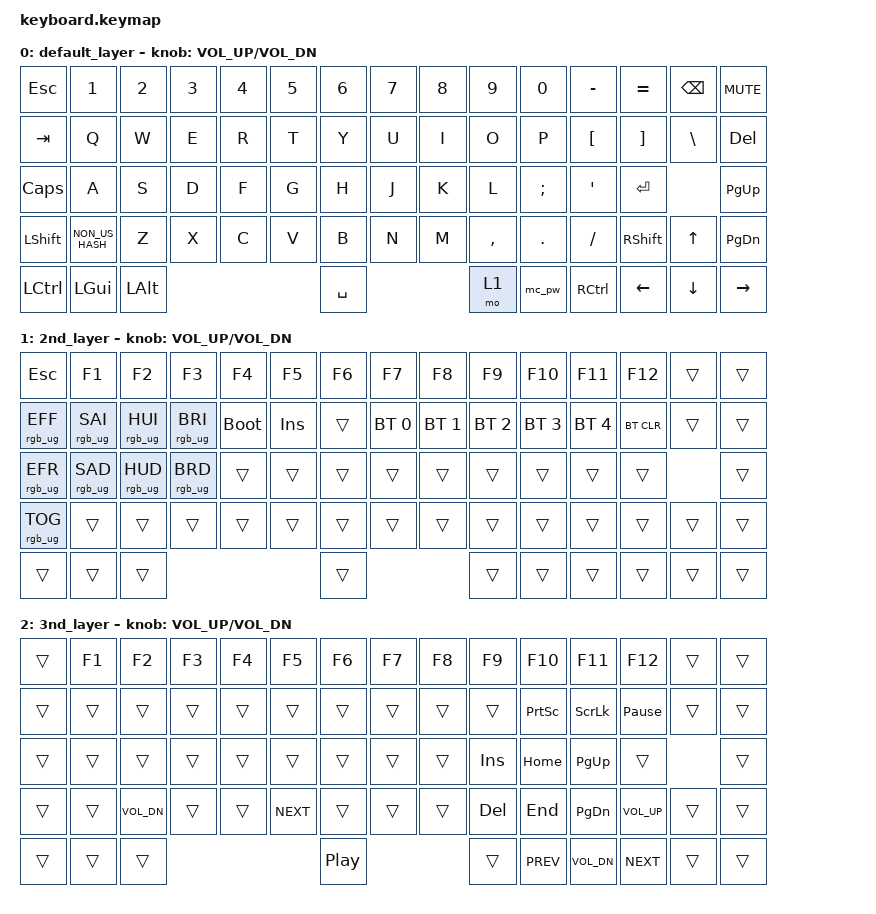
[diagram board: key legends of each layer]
/*
 * Copyright (c) 2021 Nick Winans
 *
 * SPDX-License-Identifier: MIT
 */

#include <behaviors.dtsi>
#include <dt-bindings/zmk/keys.h>

/ {
    macros {
        ZMK_MACRO(mc_pw,

        wait-ms = <1>;
        tap-ms = <1>;
        bindings = <&kp CAPS &kp T &kp CAPS &kp U &kp M &kp O &kp T &kp D &kp E &kp N &kp N1 &kp N2 &kp RET>;

        )
    };

    keymap {
        compatible = "zmk,keymap";

        default_layer {
            // ------------------------------------------------------------------------------------------
            // | ESC |  1  |  2  |  3  |  4  |  5  |  6  |  7  |  8  |  9  |  0  |  -  |  =  | BSPC |DEL|
            // | TAB  |  Q  |  W  |  E  |  R  |  T  |  Y  |  U  |  I  |  O  |  P  |  [  |  ]  |   "|"   |
            // | CAPS  |  A  |  S  |  D  |  F  |  G  |  H  |  J  |  K  |  L  |  ;  |  '  |     ENTER    |
            // |  SHIFT  |  Z  |  X  |  C  |  V  |  B  |  N  |  M  |  ,  |  .  |  /  |      SHIFT       |
            // |  CTL  |  WIN  |  ALT  |            SPACE              |  ALT  |  WIN  |  MO(1) |  CTL  |
            // ------------------------------------------------------------------------------------------

            bindings = <
   &kp ESC           &kp N1    &kp N2  &kp N3  &kp N4  &kp N5     &kp N6  &kp N7  &kp N8     &kp N9    &kp N0  &kp MINUS  &kp EQUAL  &kp BSPC  &kp C_MUTE
   &kp TAB            &kp Q     &kp W   &kp E   &kp R   &kp T      &kp Y   &kp U   &kp I      &kp O     &kp P   &kp LBKT   &kp RBKT  &kp BSLH     &kp DEL
  &kp CAPS            &kp A     &kp S   &kp D   &kp F   &kp G      &kp H   &kp J   &kp K      &kp L  &kp SEMI    &kp SQT    &kp RET             &kp PG_UP
 &kp LSHFT  &kp NON_US_HASH     &kp Z   &kp X   &kp C   &kp V      &kp B   &kp N   &kp M  &kp COMMA   &kp DOT   &kp FSLH  &kp RSHFT    &kp UP   &kp PG_DN
 &kp LCTRL         &kp LGUI  &kp LALT                          &kp SPACE                      &mo 1    &mc_pw  &kp RCTRL   &kp LEFT  &kp DOWN   &kp RIGHT
            >;

            sensor-bindings = <&inc_dec_kp C_VOL_UP C_VOL_DN>;
        };

        2nd_layer {

        // ------------------------------------------------------------------------------------------
        // | boot | BT CLR | BT1 | BT2 | BT3 | BT4 | BT5 | TRNS | TRNS | TRNS | TRNS | TRNS | TRNS |  TRNS  |
        // | TRNS | TRNS |  UP  | TRNS | TRNS | TRNS | TRNS | TRNS | TRNS | TRNS | TRNS | TRNS | TRNS | TRNS |
        // | TRNS | LEFT | DOWN | RGHT | TRNS | TRNS | TRNS | TRNS | TRNS | TRNS | TRNS | TRNS | TRNS |
        // | TRNS | TRNS | TRNS | TRNS | TRNS | TRNS | TRNS | TRNS | TRNS | TRNS | TRNS | TRNS |
        // | TRNS  | TRNS  |  TRNS |             TRNS              | TRNS  |  TRNS |  TRNS | TRNS  |
        // ------------------------------------------------------------------------------------------

        bindings = <
	&kp ESC            &kp F1          &kp F2          &kp F3          &kp F4      &kp F5  &kp F6 &kp F7        &kp F8       &kp F9       &kp F10      &kp F11      &kp F12     &trans &trans 
	&rgb_ug RGB_EFF    &rgb_ug RGB_SAI &rgb_ug RGB_HUI &rgb_ug RGB_BRI &bootloader &kp INS &trans &bt BT_SEL 0  &bt BT_SEL 1 &bt BT_SEL 2 &bt BT_SEL 3 &bt BT_SEL 4 &bt BT_CLR  &trans &trans 
	&rgb_ug RGB_EFR    &rgb_ug RGB_SAD &rgb_ug RGB_HUD &rgb_ug RGB_BRD &trans      &trans  &trans &trans        &trans       &trans       &trans       &trans       &trans             &trans
	&rgb_ug RGB_TOG    &trans          &trans          &trans          &trans      &trans  &trans &trans        &trans       &trans       &trans       &trans       &trans      &trans &trans
	&trans             &trans          &trans                                              &trans                            &trans       &trans       &trans       &trans      &trans &trans 
        >;

        sensor-bindings = <&inc_dec_kp C_VOL_UP C_VOL_DN>;

        Layer__1 {
            bindings = <
 &trans  &trans  &trans  &trans  &trans  &trans  &trans  &trans  &trans  &trans  &trans  &trans  &trans  &trans  &trans
 &trans  &trans  &trans  &trans  &trans  &trans  &trans  &trans  &trans  &trans  &trans  &trans  &trans  &trans  &trans
 &trans  &trans  &trans  &trans  &trans  &trans  &trans  &trans  &trans  &trans  &trans  &trans  &trans          &trans
 &trans  &trans  &trans  &trans  &trans  &trans  &trans  &trans  &trans  &trans  &trans  &trans  &trans  &trans  &trans
 &trans  &trans  &trans                          &trans                  &trans  &trans  &trans  &trans  &trans  &trans
            >;
        };
    };

    3nd_layer {

    // ------------------------------------------------------------------------------------------
    // | boot | F1 | F2 | F3 | F4 | F5 | F6 | F7 | F8 | F9 | F10 | F11 | F12 |  TRNS  |
    // | TRNS | TRNS | TRNS | TRNS | TRNS | TRNS | TRNS | TRNS | TRNS | TRNS | TRNS | TRNS | TRNS | TRNS |
    // | TRNS | TRNS | TRNS | TRNS | TRNS | TRNS | TRNS | TRNS | TRNS | TRNS | TRNS | TRNS | TRNS |
    // | TRNS | TRNS | VOL_DN | VOL_UP | PREV | NEXT | TRNS | TRNS | TRNS | TRNS | TRNS | TRNS |
    // | TRNS  | TRNS  |  TRNS |             PLAY/PAUS              | TRNS  |  TRNS |  TRNS | TRNS  |
    // ------------------------------------------------------------------------------------------

    bindings = <
	&trans      &kp F1     &kp F2          &kp F3          &kp F4          &kp F5          &kp F6       &kp F7 &kp F8 &kp F9     &kp F10        &kp F11      &kp F12         &trans &trans 
	&trans      &trans     &trans          &trans          &trans          &trans          &trans       &trans &trans &trans     &kp PSCRN      &kp SLCK     &kp PAUSE_BREAK &trans &trans 
	&trans      &trans     &trans          &trans          &trans          &trans          &trans       &trans &trans &kp INS    &kp HOME       &kp PG_UP    &trans                 &trans 
	&trans      &trans     &kp C_VOL_DN    &trans          &trans          &kp C_NEXT      &trans       &trans &trans &kp DEL    &kp END        &kp PG_DN    &kp C_VOL_UP    &trans &trans     
	&trans      &trans     &trans                                                          &kp C_PP                   &trans     &kp C_PREV     &kp C_VOL_DN &kp K_NEXT      &trans &trans 
    >;

    sensor-bindings = <&inc_dec_kp C_VOL_UP C_VOL_DN>;
};

};
};
